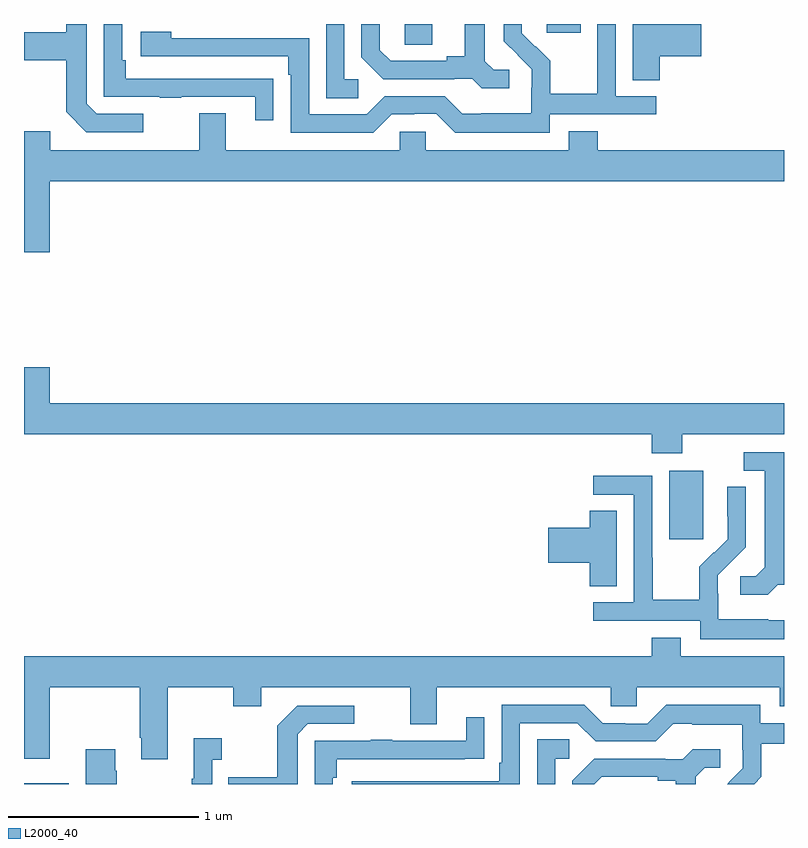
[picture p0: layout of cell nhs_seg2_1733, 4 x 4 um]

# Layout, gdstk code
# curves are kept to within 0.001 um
import gdstk
lib = gdstk.Library(unit=1e-6, precision=1e-09)
def R(c, l, rs):  # rectangles x0, y0, x1, y1
    for r in rs: c.add(gdstk.rectangle(r[:2], r[2:], *l))
def P(c, l, *ps):  # polygons
    for p in ps: c.add(gdstk.Polygon(p, *l))
L2000_40 = (2000, 40)

nhs_seg2_1733 = lib.new_cell('nhs_seg2_1733')
R(nhs_seg2_1733, L2000_40, [(201,641.8,201.235,641.803), (204.395,643.089,204.574,643.45), (203.004,645.691,203.149,645.8), (203.75,645.753,203.929,645.8)])
P(nhs_seg2_1733, L2000_40, [(204.347,645.629),(204.565,645.629),(204.565,645.8),(204.203,645.8),(204.203,645.505),(204.347,645.505)],
  [(203.554,645.558),(203.472,645.558),(203.425,645.605),(203.425,645.8),(203.321,645.8),(203.321,645.629),(203.225,645.629),(203.225,645.606),(202.93,645.606),(202.873,645.663),(202.873,645.8),(202.776,645.8),(202.776,645.626),(202.892,645.51),(203.264,645.51),(203.264,645.513),(203.358,645.513),(203.41,645.461),(203.554,645.461)],
  [(203.766,645.324),(204.328,645.324),(204.328,645.42),(204.114,645.42),(204.114,645.8),(204.018,645.8),(204.018,645.656),(204.016,645.656),(204.016,645.433),(203.771,645.433),(203.771,645.607),(203.694,645.684),(203.691,645.681),(203.621,645.752),(203.621,645.8),(203.526,645.8),(203.526,645.71),(203.672,645.562),(203.672,645.465),(203.67,645.465),(203.67,645.331),(203.407,645.331),(203.407,645.327),(203.307,645.327),(203.214,645.42),(202.899,645.42),(202.803,645.324),(202.5,645.324),(202.5,645.726),(201.776,645.726),(201.776,645.76),(201.615,645.76),(201.615,645.63),(202.391,645.63),(202.391,645.533),(202.404,645.533),(202.404,645.228),(202.839,645.228),(202.935,645.324),(203.054,645.324),(203.054,645.327),(203.169,645.327),(203.269,645.227),(203.766,645.227)],
  [(202.759,645.51),(202.686,645.51),(202.686,645.8),(202.59,645.8),(202.59,645.409),(202.759,645.409)],
  [(202.313,645.512),(202.211,645.512),(202.211,645.513),(201.536,645.513),(201.536,645.61),(201.516,645.61),(201.516,645.8),(201.42,645.8),(201.42,645.417),(201.715,645.417),(201.715,645.412),(201.827,645.412),(201.827,645.417),(202.217,645.417),(202.217,645.294),(202.313,645.294)],
  [(201.628,645.327),(201.384,645.327),(201.33,645.381),(201.33,645.8),(201.222,645.8),(201.222,645.757),(201,645.757),(201,645.61),(201.222,645.61),(201.222,645.337),(201.327,645.231),(201.628,645.231)],
  [(201.136,644.972),(205,644.972),(205,645.136),(204.02,645.136),(204.02,645.235),(203.867,645.235),(203.867,645.136),(203.115,645.136),(203.115,645.234),(202.977,645.234),(202.977,645.136),(202.063,645.136),(202.063,645.331),(201.923,645.331),(201.923,645.136),(201.139,645.136),(201.139,645.235),(201,645.235),(201,644.598),(201.136,644.598)],
  [(204.465,643.64),(205,643.64),(205,643.804),(201.136,643.804),(201.136,643.993),(201,643.993),(201,643.64),(204.305,643.64),(204.305,643.541),(204.465,643.541)],
  [(204.966,642.849),(205,642.849),(205,643.545),(204.789,643.545),(204.789,643.449),(204.899,643.449),(204.899,642.941),(204.852,642.894),(204.771,642.894),(204.771,642.797),(204.914,642.797)],
  [(205,642.663),(204.917,642.663),(204.917,642.667),(204.654,642.667),(204.654,642.801),(204.652,642.801),(204.652,642.898),(204.798,643.046),(204.798,643.364),(204.702,643.364),(204.702,643.21),(204.704,643.21),(204.704,643.088),(204.633,643.017),(204.63,643.02),(204.553,642.943),(204.553,642.769),(204.309,642.769),(204.309,642.992),(204.306,642.992),(204.306,643.422),(203.997,643.422),(203.997,643.323),(204.21,643.323),(204.21,642.756),(203.997,642.756),(203.997,642.66),(204.558,642.66),(204.558,642.563),(205,642.563)],
  [(204.121,643.238),(203.978,643.238),(203.978,643.148),(203.76,643.148),(203.76,642.965),(203.978,642.965),(203.978,642.841),(204.121,642.841)],
  [(201.757,642.308),(202.102,642.308),(202.102,642.209),(202.249,642.209),(202.249,642.308),(203.033,642.308),(203.033,642.114),(203.173,642.114),(203.173,642.308),(204.087,642.308),(204.087,642.21),(204.225,642.21),(204.225,642.308),(204.977,642.308),(204.977,642.209),(205,642.209),(205,642.472),(204.457,642.472),(204.457,642.571),(204.305,642.571),(204.305,642.472),(201,642.472),(201,641.934),(201.136,641.934),(201.136,642.308),(201.61,642.308),(201.61,642.043),(201.617,642.043),(201.617,641.931),(201.757,641.931)],
  [(203.61,642.12),(203.913,642.12),(204.009,642.024),(204.324,642.024),(204.417,642.117),(204.517,642.117),(204.517,642.113),(204.78,642.113),(204.78,641.979),(204.782,641.979),(204.782,641.882),(204.708,641.808),(204.709,641.807),(204.702,641.8),(204.844,641.8),(204.881,641.837),(204.881,642.012),(205,642.012),(205,642.12),(204.876,642.12),(204.876,642.217),(204.379,642.217),(204.279,642.117),(204.164,642.117),(204.164,642.12),(204.045,642.12),(203.949,642.216),(203.514,642.216),(203.514,641.911),(203.501,641.911),(203.501,641.814),(202.725,641.814),(202.725,641.8),(203.61,641.8)],
  [(202.44,642.063),(202.494,642.117),(202.738,642.117),(202.738,642.213),(202.437,642.213),(202.332,642.107),(202.332,641.835),(202.075,641.835),(202.075,641.8),(202.44,641.8)],
  [(202.626,641.834),(202.646,641.834),(202.646,641.931),(203.321,641.931),(203.321,641.932),(203.423,641.932),(203.423,642.151),(203.327,642.151),(203.327,642.027),(202.937,642.027),(202.937,642.032),(202.825,642.032),(202.825,642.027),(202.53,642.027),(202.53,641.8),(202.626,641.8)],
  [(201.99,641.927),(202.042,641.927),(202.042,642.04),(201.893,642.04),(201.893,641.827),(201.882,641.827),(201.882,641.8),(201.99,641.8)],
  [(203.796,641.934),(203.869,641.934),(203.869,642.035),(203.7,642.035),(203.7,641.8),(203.796,641.8)],
  [(204.04,641.838),(204.335,641.838),(204.335,641.816),(204.431,641.816),(204.431,641.8),(204.535,641.8),(204.535,641.839),(204.582,641.886),(204.664,641.886),(204.664,641.983),(204.52,641.983),(204.468,641.931),(204.374,641.931),(204.374,641.934),(204.002,641.934),(203.886,641.818),(203.886,641.8),(204.002,641.8)],
  [(201.489,641.87),(201.481,641.87),(201.481,641.983),(201.326,641.983),(201.326,641.8),(201.489,641.8)])

lib.write_gds('nhs_seg2_1733.gds')
